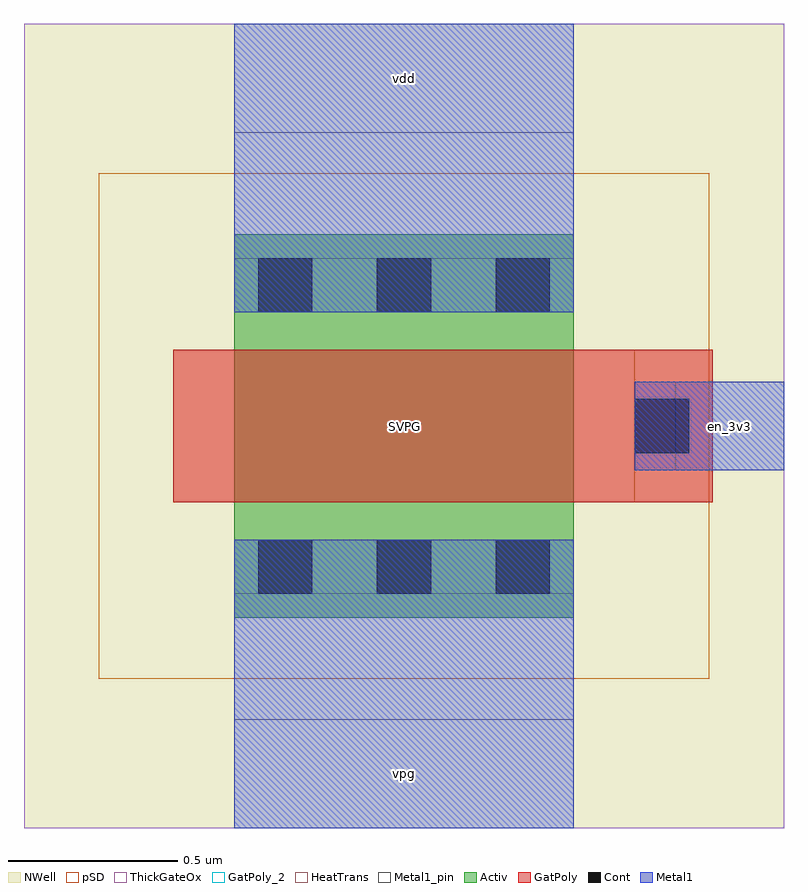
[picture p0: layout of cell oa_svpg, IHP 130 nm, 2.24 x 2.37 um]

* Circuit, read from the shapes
.subckt oa_svpg en_3v3 vdd vpg
XM1 vdd en_3v3 vpg n1 sg13_hv_pmos w=1u l=0.45u
.ends

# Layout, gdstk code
from math import pi, radians
import gdstk
lib = gdstk.Library(unit=1e-6, precision=1e-09)
def R(c, l, rs):  # rectangles x0, y0, x1, y1
    for r in rs: c.add(gdstk.rectangle(r[:2], r[2:], *l))
def A(c, l, x, y, w, h, nx, ny, dx, dy):  # array of equal rectangles
    R(c, l, [(x+i*dx, y+j*dy, x+i*dx+w, y+j*dy+h) for i in range(nx) for j in range(ny)])
Activ = (1, 0)
GatPoly = (5, 0)
GatPoly_2 = (5, 2)
Cont = (6, 0)
Metal1 = (8, 0)
Metal1_pin = (8, 2)
pSD = (14, 0)
NWell = (31, 0)
ThickGateOx = (44, 0)
HeatTrans = (51, 0)

pmoshv_7 = lib.new_cell('pmosHV$7')
R(pmoshv_7, Activ, [(0,0,0.3,0.3), (0,0,1.13,1), (0.83,0,1.13,0.3)])
R(pmoshv_7, GatPoly, [(0.34,-0.18,0.79,1.18)])
R(pmoshv_7, GatPoly_2, [(0.34,-0.18,0.79,1.18)])
A(pmoshv_7, Cont, 0.07, 0.07, 0.16, 0.16, 1, 3, 0, 0.35)
A(pmoshv_7, Cont, 0.9, 0.07, 0.16, 0.16, 1, 3, 0, 0.35)
R(pmoshv_7, Metal1, [(0.07,0,0.23,1), (0.9,0,1.06,1)])
R(pmoshv_7, Metal1_pin, [(0.07,0,0.23,1), (0.9,0,1.06,1)])
R(pmoshv_7, pSD, [(-0.18,-0.4,1.31,1.4)])
R(pmoshv_7, NWell, [(-0.62,-0.62,1.75,1.62)])
R(pmoshv_7, ThickGateOx, [(-0.62,-0.62,1.75,1.62)])
R(pmoshv_7, HeatTrans, [(0.34,-0.18,0.79,1.18)])
pmoshv_7.add(gdstk.Label('pmosHV', (0.565,0.5), layer=63, texttype=0))
pmoshv_7.add(gdstk.Label('pmos', (0.565,0.5), layer=51, texttype=0))

oa_svpg = lib.new_cell('oa_svpg')
R(oa_svpg, GatPoly, [(1,0.34,1.41,0.79)])
R(oa_svpg, Cont, [(1.18,0.485,1.34,0.645)])
R(oa_svpg, Metal1, [(0,-0.62,1,0.23), (1.18,0.435,1.62,0.695), (0,0.9,1,1.75)])
R(oa_svpg, Metal1_pin, [(0,-0.62,1,-0.3), (1.3,0.435,1.62,0.695), (0,1.43,1,1.75)])
R(oa_svpg, NWell, [(-0.62,-0.62,1.62,1.75)])
R(oa_svpg, ThickGateOx, [(-0.62,-0.62,1.62,1.75)])
oa_svpg.add(gdstk.Reference(pmoshv_7, (0,1.13), rotation=3*pi/2))
oa_svpg.add(gdstk.Label('SVPG', (0.5,0.565), layer=63, texttype=0))
oa_svpg.add(gdstk.Label('en_3v3', (1.46,0.565), layer=8, texttype=25))
oa_svpg.add(gdstk.Label('vdd', (0.5,1.59), layer=8, texttype=25))
oa_svpg.add(gdstk.Label('vpg', (0.5,-0.46), layer=8, texttype=25))

lib.write_gds('oa_svpg.gds')
